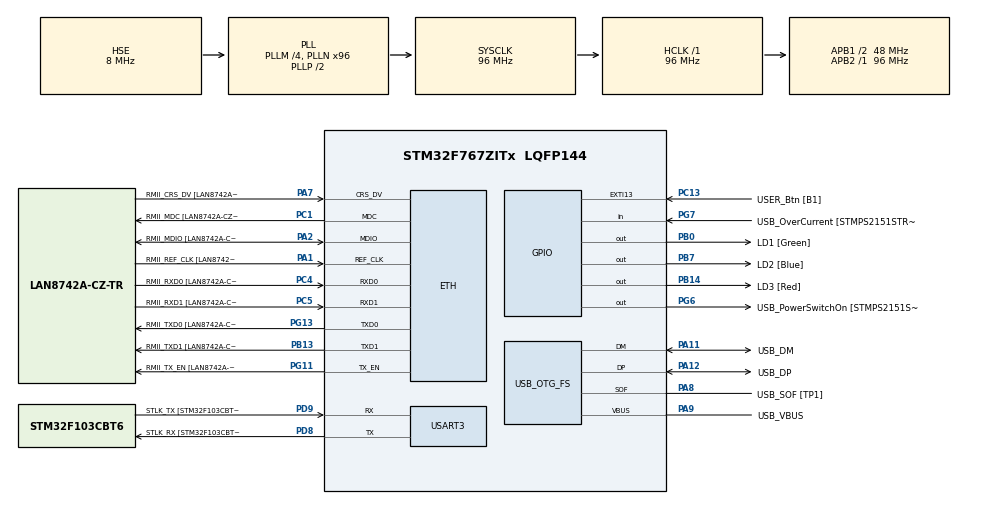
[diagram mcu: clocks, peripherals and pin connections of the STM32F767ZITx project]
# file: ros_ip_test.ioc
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Mcu.Family=STM32F7
VP_SYS_VS_tim6.Mode=TIM6
RCC.CortexFreq_Value=96000000
PG6.Signal=GPIO_Output
NVIC.TIM6_DAC_IRQn=true\:0\:0\:false\:false\:true\:false\:false\:true
PB14.GPIO_Label=LD3 [Red]
PG6.GPIO_Label=USB_PowerSwitchOn [STMPS2151STR_EN]
PA14.GPIO_Label=TCK
RCC.SYSCLKSourceVirtual=RCC_SYSCLKSOURCE_PLLCLK
PA11.Mode=Device_Only
PB0.GPIO_Label=LD1 [Green]
PC5.Mode=RMII
PC13.GPIO_Label=USER_Btn [B1]
PB13.GPIO_Label=RMII_TXD1 [LAN8742A-CZ-TR_TXD1]
PB13.Signal=ETH_TXD1
PG13.Signal=ETH_TXD0
LWIP.TCP_SND_BUF=5840
PD9.Mode=Asynchronous
PG11.Signal=ETH_TX_EN
RCC.SYSCLKSource=RCC_SYSCLKSOURCE_PLLCLK
ProjectManager.StackSize=0x4000
LWIP.TCP_MSS=1460
VP_FREERTOS_VS_CMSIS_V2.Mode=CMSIS_V2
LWIP.NETMASK_ADDRESS=225.225.225.000
USART3.VirtualMode-Asynchronous=VM_ASYNC
PA12.Signal=USB_OTG_FS_DP
ETH.PHY_Value=0
PH0/OSC_IN.Mode=HSE-External-Oscillator
RCC.HCLKFreq_Value=96000000
RCC.APB2TimFreq_Value=96000000
PH1/OSC_OUT.Signal=RCC_OSC_OUT
PD8.Signal=USART3_TX
LWIP.TCP_SND_QUEUELEN=16
RCC.AHBFreq_Value=96000000
NVIC.ETH_IRQn=true\:5\:0\:false\:false\:true\:true\:false\:true
RCC.HSE_VALUE=8000000
RCC.PLLMUL=RCC_PLL_MUL9
LWIP.MEM_SIZE=10240
PC4.GPIO_Label=RMII_RXD0 [LAN8742A-CZ-TR_RXD0]
PA14.Mode=Serial_Wire
PA10.GPIO_Label=USB_ID
PB7.Signal=GPIO_Output
PA8.Signal=USB_OTG_FS_SOF
PG13.Mode=RMII
ETH.PHY_Name=LAN8742A_PHY_ADDRESS
PH1/OSC_OUT.Mode=HSE-External-Oscillator
PB7.GPIO_Label=LD2 [Blue]
Mcu.Package=LQFP144
NVIC.TimeBase=TIM6_DAC_IRQn
PC14/OSC32_IN.Signal=RCC_OSC32_IN
PA2.GPIO_Label=RMII_MDIO [LAN8742A-CZ-TR_MDIO]
NVIC.TimeBaseIP=TIM6
PA10.Signal=USB_OTG_FS_ID
USB_OTG_FS.VirtualMode=Device_Only
RCC.APB1TimFreq_Value=96000000
PG11.GPIO_Label=RMII_TX_EN [LAN8742A-CZ-TR_TXEN]
PC5.Signal=ETH_RXD1
PB13.Mode=RMII
PC4.Mode=RMII
LWIP.IP_ADDRESS=192.168.001.100
PB3.GPIO_Label=SWO
ETH.AutoNegotiation=ETH_AUTONEGOTIATION_DISABLE
CORTEX_M7.CPU_ICache=Enabled
FREERTOS.Tasks01=defaultTask,24,512,StartDefaultTask,Default,NULL,Dynamic,NULL,NULL;myTask02,8,512,StartTask02,Default,NULL,Dynamic,NULL,NULL
PA7.Mode=RMII
PG7.Signal=GPIO_Input
PD9.GPIO_Label=STLK_TX [STM32F103CBT6_PA2]
PC13.Signal=GPXTI13
PA9.GPIO_Label=USB_VBUS
PC4.Signal=ETH_RXD0
ETH.MACAddr=00\:80\:E1\:00\:01\:10
PA11.GPIO_Label=USB_DM
PD9.Signal=USART3_RX
LWIP.LWIP_DHCP=0
RCC.APB1CLKDivider=RCC_HCLK_DIV2
PG13.GPIO_Label=RMII_TXD0 [LAN8742A-CZ-TR_TXD0]
ETH.PhyAddress=0
PA12.GPIO_Label=USB_DP
VP_LWIP_VS_Enabled.Mode=Enabled
LWIP.GATEWAY_ADDRESS=192.168.001.001
PD8.GPIO_Label=STLK_RX [STM32F103CBT6_PA3]
PA13.Signal=SYS_JTMS-SWDIO
CORTEX_M7.MPU_Control=__NULL
PA9.Mode=Activate_VBUS
PA8.GPIO_Label=USB_SOF [TP1]
LWIP.PBUF_POOL_BUFSIZE=1524
ProjectManager.TargetToolchain=STM32CubeIDE
PA9.Signal=USB_OTG_FS_VBUS
RCC.USBFreq_Value=48000000
RCC.LSE_VALUE=32768
PD8.Mode=Asynchronous
PA1.Signal=ETH_REF_CLK
PB14.Signal=GPIO_Output
board=NUCLEO-F767ZI
RCC.VCOOutputFreq_Value=192000000
PH0/OSC_IN.Signal=RCC_OSC_IN
RCC.APB2Freq_Value=96000000
PA1.Mode=RMII
RCC.PRESCALERUSB=RCC_USBCLKSOURCE_PLL_DIV1_5
PG7.GPIO_Label=USB_OverCurrent [STMPS2151STR_FAULT]
PA1.GPIO_Label=RMII_REF_CLK [LAN8742A-CZ-TR_REFCLK0]
PC1.GPIO_Label=RMII_MDC [LAN8742A-CZ-TR_MDC]
PA13.Mode=Serial_Wire
Mcu.Name=STM32F767ZITx
PA2.Signal=ETH_MDIO
PA13.GPIO_Label=TMS
RCC.48MHZClocksFreq_Value=24000000
PB3.Signal=SYS_JTDO-SWO
RCC.SYSCLKFreq_VALUE=96000000
ETH.MediaInterface=ETH_MEDIA_INTERFACE_RMII
PA7.GPIO_Label=RMII_CRS_DV [LAN8742A-CZ-TR_CRS_DV]
PA12.Mode=Device_Only
PC5.GPIO_Label=RMII_RXD1 [LAN8742A-CZ-TR_RXD1]
PG11.Mode=RMII
PA11.Signal=USB_OTG_FS_DM
PA14.Signal=SYS_JTCK-SWCLK
ProjectManager.HeapSize=0x2000
LWIP.Version=v2.1.2_Cube
RCC.HSI_VALUE=16000000
PH0/OSC_IN.GPIO_Label=MCO [STM32F103CBT6_PA8]
RCC.PLLQ=4
NVIC.PriorityGroup=NVIC_PRIORITYGROUP_4
RCC.PLLM=4
RCC.PLLN=96
PA2.Mode=RMII
PC15/OSC32_OUT.Signal=RCC_OSC32_OUT
PA8.Mode=Activate_SOF_FS
CORTEX_M7.CPU_DCache=Enabled
RCC.APB1Freq_Value=48000000
PB0.Signal=GPIO_Output
PC1.Signal=ETH_MDC
PC1.Mode=RMII
PA7.Signal=ETH_CRS_DV

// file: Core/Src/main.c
/* USER CODE BEGIN Header */
/**
  ******************************************************************************
  * @file           : main.c
  * @brief          : Main program body
  ******************************************************************************
  * @attention
  *
  * <h2><center>&copy; Copyright (c) 2021 STMicroelectronics.
  * All rights reserved.</center></h2>
  *
  * This software component is licensed by ST under BSD 3-Clause license,
  * the "License"; You may not use this file except in compliance with the
  * License. You may obtain a copy of the License at:
  *                        opensource.org/licenses/BSD-3-Clause
  *
  ******************************************************************************
  */
/* USER CODE END Header */
#include "main.h"
#include "cmsis_os.h"
#include "lwip.h"

/* USER CODE BEGIN Includes */
#include "stdint.h"
#include "string.h"
#include "lwip/opt.h"
#include "lwip/arch.h"
#include "lwip/api.h"

/* USER CODE END Includes */

UART_HandleTypeDef huart3;

PCD_HandleTypeDef hpcd_USB_OTG_FS;

/* Definitions for defaultTask */
osThreadId_t defaultTaskHandle;
const osThreadAttr_t defaultTask_attributes = {
  .name = "defaultTask",
  .stack_size = 512 * 4,
  .priority = (osPriority_t) osPriorityNormal,
};
/* Definitions for myTask02 */
osThreadId_t myTask02Handle;
const osThreadAttr_t myTask02_attributes = {
  .name = "myTask02",
  .stack_size = 512 * 4,
  .priority = (osPriority_t) osPriorityLow,
};
/* USER CODE BEGIN PV */
osThreadId_t myNetTaskHandle;
const osThreadAttr_t myNetTask_attributes = {
  .name = "myNetTask",
  .stack_size = 256 * 4,
  .priority = (osPriority_t) osPriorityNormal,
};
/* USER CODE END PV */

void SystemClock_Config(void);
static void MX_GPIO_Init(void);
static void MX_USART3_UART_Init(void);
static void MX_USB_OTG_FS_PCD_Init(void);
void StartDefaultTask(void *argument);
void StartTask02(void *argument);

/* USER CODE BEGIN 0 */
extern struct netif gnetif;
/* USER CODE END 0 */

int main(void)
{

  /* Enable I-Cache---------------------------------------------------------*/
  SCB_EnableICache();

  /* Enable D-Cache---------------------------------------------------------*/
  SCB_EnableDCache();

  /* MCU Configuration--------------------------------------------------------*/

  /* Reset of all peripherals, Initializes the Flash interface and the Systick. */
  HAL_Init();

  /* Configure the system clock */
  SystemClock_Config();

  /* Initialize all configured peripherals */
  MX_GPIO_Init();
  MX_USART3_UART_Init();
  MX_USB_OTG_FS_PCD_Init();
  /* USER CODE BEGIN 2 */
  RetargetInit(&huart3);
  /* USER CODE END 2 */

  /* Init scheduler */
  osKernelInitialize();

  /* Create the thread(s) */
  /* creation of defaultTask */
  defaultTaskHandle = osThreadNew(StartDefaultTask, NULL, &defaultTask_attributes);

  /* creation of myTask02 */
  myTask02Handle = osThreadNew(StartTask02, NULL, &myTask02_attributes);

  /* Start scheduler */
  osKernelStart();

  /* We should never get here as control is now taken by the scheduler */
  /* Infinite loop */
  while (1)
  {

  }
}

void SystemClock_Config(void)
{
  RCC_OscInitTypeDef RCC_OscInitStruct = {0};
  RCC_ClkInitTypeDef RCC_ClkInitStruct = {0};
  RCC_PeriphCLKInitTypeDef PeriphClkInitStruct = {0};

  /** Configure the main internal regulator output voltage
  */
  __HAL_RCC_PWR_CLK_ENABLE();
  __HAL_PWR_VOLTAGESCALING_CONFIG(PWR_REGULATOR_VOLTAGE_SCALE3);
  /** Initializes the RCC Oscillators according to the specified parameters
  * in the RCC_OscInitTypeDef structure.
  */
  RCC_OscInitStruct.OscillatorType = RCC_OSCILLATORTYPE_HSE;
  RCC_OscInitStruct.HSEState = RCC_HSE_ON;
  RCC_OscInitStruct.PLL.PLLState = RCC_PLL_ON;
  RCC_OscInitStruct.PLL.PLLSource = RCC_PLLSOURCE_HSE;
  RCC_OscInitStruct.PLL.PLLM = 4;
  RCC_OscInitStruct.PLL.PLLN = 96;
  RCC_OscInitStruct.PLL.PLLP = RCC_PLLP_DIV2;
  RCC_OscInitStruct.PLL.PLLQ = 4;
  if (HAL_RCC_OscConfig(&RCC_OscInitStruct) != HAL_OK)
  {
    Error_Handler();
  }
  /** Activate the Over-Drive mode
  */
  if (HAL_PWREx_EnableOverDrive() != HAL_OK)
  {
    Error_Handler();
  }
  /** Initializes the CPU, AHB and APB buses clocks
  */
  RCC_ClkInitStruct.ClockType = RCC_CLOCKTYPE_HCLK|RCC_CLOCKTYPE_SYSCLK
                              |RCC_CLOCKTYPE_PCLK1|RCC_CLOCKTYPE_PCLK2;
  RCC_ClkInitStruct.SYSCLKSource = RCC_SYSCLKSOURCE_PLLCLK;
  RCC_ClkInitStruct.AHBCLKDivider = RCC_SYSCLK_DIV1;
  RCC_ClkInitStruct.APB1CLKDivider = RCC_HCLK_DIV2;
  RCC_ClkInitStruct.APB2CLKDivider = RCC_HCLK_DIV1;

  if (HAL_RCC_ClockConfig(&RCC_ClkInitStruct, FLASH_LATENCY_3) != HAL_OK)
  {
    Error_Handler();
  }
  PeriphClkInitStruct.PeriphClockSelection = RCC_PERIPHCLK_USART3|RCC_PERIPHCLK_CLK48;
  PeriphClkInitStruct.Usart3ClockSelection = RCC_USART3CLKSOURCE_PCLK1;
  PeriphClkInitStruct.Clk48ClockSelection = RCC_CLK48SOURCE_PLL;
  if (HAL_RCCEx_PeriphCLKConfig(&PeriphClkInitStruct) != HAL_OK)
  {
    Error_Handler();
  }
}

static void MX_USART3_UART_Init(void)
{

  huart3.Instance = USART3;
  huart3.Init.BaudRate = 115200;
  huart3.Init.WordLength = UART_WORDLENGTH_8B;
  huart3.Init.StopBits = UART_STOPBITS_1;
  huart3.Init.Parity = UART_PARITY_NONE;
  huart3.Init.Mode = UART_MODE_TX_RX;
  huart3.Init.HwFlowCtl = UART_HWCONTROL_NONE;
  huart3.Init.OverSampling = UART_OVERSAMPLING_16;
  huart3.Init.OneBitSampling = UART_ONE_BIT_SAMPLE_DISABLE;
  huart3.AdvancedInit.AdvFeatureInit = UART_ADVFEATURE_NO_INIT;
  if (HAL_UART_Init(&huart3) != HAL_OK)
  {
    Error_Handler();
  }

}

static void MX_USB_OTG_FS_PCD_Init(void)
{

  hpcd_USB_OTG_FS.Instance = USB_OTG_FS;
  hpcd_USB_OTG_FS.Init.dev_endpoints = 6;
  hpcd_USB_OTG_FS.Init.speed = PCD_SPEED_FULL;
  hpcd_USB_OTG_FS.Init.dma_enable = DISABLE;
  hpcd_USB_OTG_FS.Init.phy_itface = PCD_PHY_EMBEDDED;
  hpcd_USB_OTG_FS.Init.Sof_enable = ENABLE;
  hpcd_USB_OTG_FS.Init.low_power_enable = DISABLE;
  hpcd_USB_OTG_FS.Init.lpm_enable = DISABLE;
  hpcd_USB_OTG_FS.Init.vbus_sensing_enable = ENABLE;
  hpcd_USB_OTG_FS.Init.use_dedicated_ep1 = DISABLE;
  if (HAL_PCD_Init(&hpcd_USB_OTG_FS) != HAL_OK)
  {
    Error_Handler();
  }

}

static void MX_GPIO_Init(void)
{
  GPIO_InitTypeDef GPIO_InitStruct = {0};

  /* GPIO Ports Clock Enable */
  __HAL_RCC_GPIOC_CLK_ENABLE();
  __HAL_RCC_GPIOH_CLK_ENABLE();
  __HAL_RCC_GPIOA_CLK_ENABLE();
  __HAL_RCC_GPIOB_CLK_ENABLE();
  __HAL_RCC_GPIOD_CLK_ENABLE();
  __HAL_RCC_GPIOG_CLK_ENABLE();

  /*Configure GPIO pin Output Level */
  HAL_GPIO_WritePin(GPIOB, LD1_Pin|LD3_Pin|LD2_Pin, GPIO_PIN_RESET);

  /*Configure GPIO pin Output Level */
  HAL_GPIO_WritePin(USB_PowerSwitchOn_GPIO_Port, USB_PowerSwitchOn_Pin, GPIO_PIN_RESET);

  /*Configure GPIO pin : USER_Btn_Pin */
  GPIO_InitStruct.Pin = USER_Btn_Pin;
  GPIO_InitStruct.Mode = GPIO_MODE_IT_RISING;
  GPIO_InitStruct.Pull = GPIO_NOPULL;
  HAL_GPIO_Init(USER_Btn_GPIO_Port, &GPIO_InitStruct);

  /*Configure GPIO pins : LD1_Pin LD3_Pin LD2_Pin */
  GPIO_InitStruct.Pin = LD1_Pin|LD3_Pin|LD2_Pin;
  GPIO_InitStruct.Mode = GPIO_MODE_OUTPUT_PP;
  GPIO_InitStruct.Pull = GPIO_NOPULL;
  GPIO_InitStruct.Speed = GPIO_SPEED_FREQ_LOW;
  HAL_GPIO_Init(GPIOB, &GPIO_InitStruct);

  /*Configure GPIO pin : USB_PowerSwitchOn_Pin */
  GPIO_InitStruct.Pin = USB_PowerSwitchOn_Pin;
  GPIO_InitStruct.Mode = GPIO_MODE_OUTPUT_PP;
  GPIO_InitStruct.Pull = GPIO_NOPULL;
  GPIO_InitStruct.Speed = GPIO_SPEED_FREQ_LOW;
  HAL_GPIO_Init(USB_PowerSwitchOn_GPIO_Port, &GPIO_InitStruct);

  /*Configure GPIO pin : USB_OverCurrent_Pin */
  GPIO_InitStruct.Pin = USB_OverCurrent_Pin;
  GPIO_InitStruct.Mode = GPIO_MODE_INPUT;
  GPIO_InitStruct.Pull = GPIO_NOPULL;
  HAL_GPIO_Init(USB_OverCurrent_GPIO_Port, &GPIO_InitStruct);

}

void StartDefaultTask(void *argument)
{
  /* init code for LWIP */
  MX_LWIP_Init();
  /* USER CODE BEGIN 5 */
  //192.168.1.192

    struct netconn *conn, *newconn;
    err_t err, accept_err;
    struct netbuf *buf;
    void *data;
    u16_t len;

    LWIP_UNUSED_ARG(argument);
    //while(gnetif.ip_addr.addr == 0) osDelay(1);
   printf("DHCP worked! IP: %s\r\n",ip4addr_ntoa(&gnetif.ip_addr));
    /* Create a new connection identifier. */
    conn = netconn_new(NETCONN_TCP);

    if (conn!=NULL)
    {
      /* Bind connection to well known port number 7. */
      err = netconn_bind(conn, NULL, 7);

      if (err == ERR_OK)
      {
        /* Tell connection to go into listening mode. */
        netconn_listen(conn);
        printf("DHCP worked! IP: %s\r\n",ip4addr_ntoa(&gnetif.ip_addr));
        while (1)
        {
          /* Grab new connection. */
           accept_err = netconn_accept(conn, &newconn);

          /* Process the new connection. */
          if (accept_err == ERR_OK)
          {

            while (netconn_recv(newconn, &buf) == ERR_OK)
            {
              do
              {
                netbuf_data(buf, &data, &len);
                printf(data);
                netconn_write(newconn, data, len, NETCONN_COPY);

              }
              while (netbuf_next(buf) >= 0);

              netbuf_delete(buf);
            }

            /* Close connection and discard connection identifier. */
            netconn_close(newconn);
            netconn_delete(newconn);
          }
        }
      }
      else
      {
        netconn_delete(newconn);
      }
    }

  /* USER CODE END 5 */
}

void StartTask02(void *argument)
{
  /* USER CODE BEGIN StartTask02 */
  struct netconn * nc = (struct netconn *)argument;
  struct netbuf * nb;
  char * buffer = pvPortMalloc(2048);
  uint16_t len;
  printf("Incoming connection\r\n");

  sprintf(buffer, "Hello from STM32F746BGT6!\r\n");
  netconn_write(nc,buffer,strlen(buffer), NETCONN_COPY);

  /* Infinite loop */
  for(;;)
  {
    printf("DHCP worked! IP: %s\r\n",ip4addr_ntoa(&gnetif.ip_addr));
    osDelay(500);
  }
  /* USER CODE END StartTask02 */
}

 /**
  * @brief  Period elapsed callback in non blocking mode
  * @note   This function is called  when TIM6 interrupt took place, inside
  * HAL_TIM_IRQHandler(). It makes a direct call to HAL_IncTick() to increment
  * a global variable "uwTick" used as application time base.
  * @param  htim : TIM handle
  * @retval None
  */
void HAL_TIM_PeriodElapsedCallback(TIM_HandleTypeDef *htim)
{
  if (htim->Instance == TIM6) {
    HAL_IncTick();
  }
}

void Error_Handler(void)
{
  __disable_irq();
  while (1)
  {
  }
}

/************************ (C) COPYRIGHT STMicroelectronics *****END OF FILE****/
